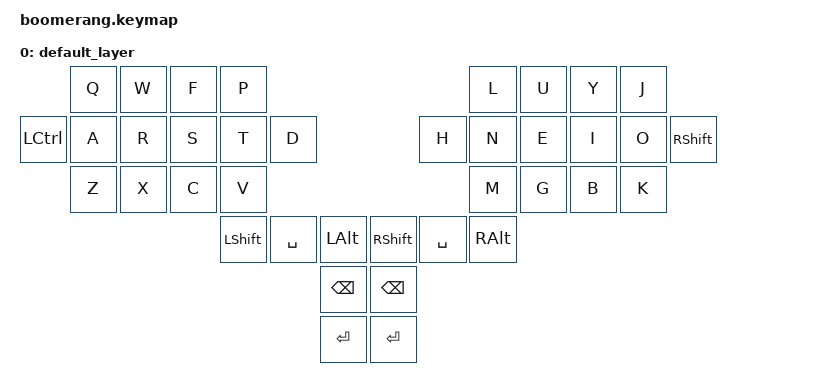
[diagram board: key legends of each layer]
#include <behaviors.dtsi>
#include <dt-bindings/zmk/keys.h>
#include <dt-bindings/zmk/bt.h>

#define ENT ENTER
#define BS BACKSPACE
#define SP SPACE

/ {
    keymap {
		compatible = "zmk,keymap";

		default_layer { // Layer 0
			bindings = <
				&kp Q   &kp W   &kp F   &kp P												&kp L   &kp U   &kp Y   &kp J
	&kp LCTRL	&kp A   &kp R   &kp S   &kp T   	&kp D							&kp H	&kp N   &kp E   &kp I   &kp O   &kp RSHIFT
				&kp Z   &kp X   &kp C   &kp V												&kp M   &kp G   &kp B   &kp K
										&kp LSHIFT	&kp SP	&kp LALT	&kp RSHIFT	&kp SP	&kp RALT
															&kp BS		&kp BS
															&kp ENT		&kp ENT
			>;
		};
    };
 };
